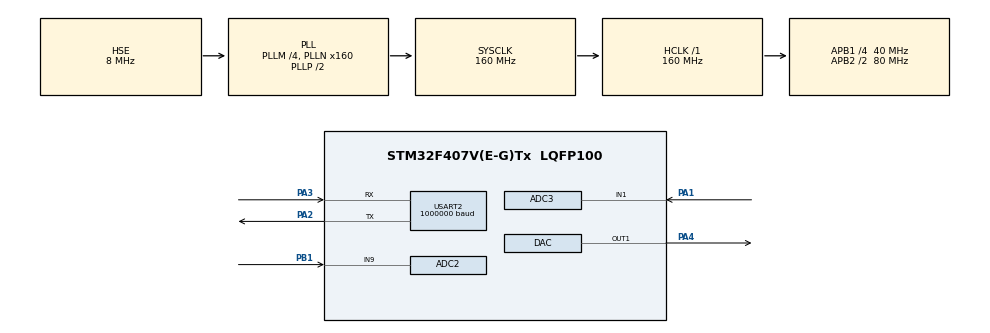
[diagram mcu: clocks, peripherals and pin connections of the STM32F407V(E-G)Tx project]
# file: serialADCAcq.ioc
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ADC2.Channel-0\#ChannelRegularConversion=ADC_CHANNEL_9
ADC2.DMAContinuousRequests=ENABLE
ADC2.ExternalTrigConv=ADC_EXTERNALTRIGCONV_T8_TRGO
ADC2.NbrOfConversionFlag=1
ADC2.Rank-0\#ChannelRegularConversion=1
ADC2.SamplingTime-0\#ChannelRegularConversion=ADC_SAMPLETIME_112CYCLES
ADC3.Channel-0\#ChannelRegularConversion=ADC_CHANNEL_1
ADC3.DMAContinuousRequests=ENABLE
ADC3.ExternalTrigConv=ADC_EXTERNALTRIGCONV_T8_TRGO
ADC3.NbrOfConversionFlag=1
ADC3.Rank-0\#ChannelRegularConversion=1
ADC3.SamplingTime-0\#ChannelRegularConversion=ADC_SAMPLETIME_112CYCLES
DAC.DAC_Trigger=DAC_TRIGGER_T2_TRGO
Dma.ADC2.0.Direction=DMA_PERIPH_TO_MEMORY
Dma.ADC2.0.FIFOMode=DMA_FIFOMODE_DISABLE
Dma.ADC2.0.Instance=DMA2_Stream2
Dma.ADC2.0.MemDataAlignment=DMA_MDATAALIGN_HALFWORD
Dma.ADC2.0.MemInc=DMA_MINC_ENABLE
Dma.ADC2.0.Mode=DMA_CIRCULAR
Dma.ADC2.0.PeriphDataAlignment=DMA_PDATAALIGN_HALFWORD
Dma.ADC2.0.PeriphInc=DMA_PINC_DISABLE
Dma.ADC2.0.Priority=DMA_PRIORITY_HIGH
Dma.ADC3.1.Direction=DMA_PERIPH_TO_MEMORY
Dma.ADC3.1.FIFOMode=DMA_FIFOMODE_DISABLE
Dma.ADC3.1.Instance=DMA2_Stream0
Dma.ADC3.1.MemDataAlignment=DMA_MDATAALIGN_HALFWORD
Dma.ADC3.1.MemInc=DMA_MINC_ENABLE
Dma.ADC3.1.Mode=DMA_CIRCULAR
Dma.ADC3.1.PeriphDataAlignment=DMA_PDATAALIGN_HALFWORD
Dma.ADC3.1.PeriphInc=DMA_PINC_DISABLE
Dma.ADC3.1.Priority=DMA_PRIORITY_HIGH
Dma.DAC1.2.Direction=DMA_MEMORY_TO_PERIPH
Dma.DAC1.2.FIFOMode=DMA_FIFOMODE_DISABLE
Dma.DAC1.2.Instance=DMA1_Stream5
Dma.DAC1.2.MemDataAlignment=DMA_MDATAALIGN_HALFWORD
Dma.DAC1.2.MemInc=DMA_MINC_ENABLE
Dma.DAC1.2.Mode=DMA_CIRCULAR
Dma.DAC1.2.PeriphDataAlignment=DMA_PDATAALIGN_HALFWORD
Dma.DAC1.2.PeriphInc=DMA_PINC_DISABLE
Dma.DAC1.2.Priority=DMA_PRIORITY_HIGH
Dma.Request0=ADC2
Dma.Request1=ADC3
Dma.Request2=DAC1
Dma.Request3=USART2_TX
Dma.USART2_TX.3.Direction=DMA_MEMORY_TO_PERIPH
Dma.USART2_TX.3.FIFOMode=DMA_FIFOMODE_DISABLE
Dma.USART2_TX.3.Instance=DMA1_Stream6
Dma.USART2_TX.3.MemDataAlignment=DMA_MDATAALIGN_BYTE
Dma.USART2_TX.3.MemInc=DMA_MINC_ENABLE
Dma.USART2_TX.3.Mode=DMA_NORMAL
Dma.USART2_TX.3.PeriphDataAlignment=DMA_PDATAALIGN_BYTE
Dma.USART2_TX.3.PeriphInc=DMA_PINC_DISABLE
Dma.USART2_TX.3.Priority=DMA_PRIORITY_HIGH
Mcu.Family=STM32F4
Mcu.Name=STM32F407V(E-G)Tx
Mcu.Package=LQFP100
NVIC.DMA1_Stream5_IRQn=true\:0\:0\:false\:false\:true\:false\:true
NVIC.DMA1_Stream6_IRQn=true\:0\:0\:false\:false\:true\:false\:true
NVIC.DMA2_Stream0_IRQn=true\:0\:0\:false\:false\:true\:false\:true
NVIC.DMA2_Stream2_IRQn=true\:0\:0\:false\:false\:true\:false\:true
NVIC.PriorityGroup=NVIC_PRIORITYGROUP_4
NVIC.TIM2_IRQn=true\:0\:0\:false\:false\:true\:true\:true
PA1.Signal=ADCx_IN1
PA2.Mode=Asynchronous
PA2.Signal=USART2_TX
PA3.Mode=Asynchronous
PA3.Signal=USART2_RX
PA4.Signal=COMP_DAC1_group
PB1.Signal=ADCx_IN9
PC14-OSC32_IN.Mode=LSE-External-Oscillator
PC14-OSC32_IN.Signal=RCC_OSC32_IN
PC15-OSC32_OUT.Mode=LSE-External-Oscillator
PC15-OSC32_OUT.Signal=RCC_OSC32_OUT
PH0-OSC_IN.Mode=HSE-External-Oscillator
PH0-OSC_IN.Signal=RCC_OSC_IN
PH1-OSC_OUT.Mode=HSE-External-Oscillator
PH1-OSC_OUT.Signal=RCC_OSC_OUT
ProjectManager.HeapSize=0x200
ProjectManager.StackSize=0x400
ProjectManager.TargetToolchain=STM32CubeIDE
RCC.48MHZClocksFreq_Value=80000000
RCC.AHBFreq_Value=160000000
RCC.APB1CLKDivider=RCC_HCLK_DIV4
RCC.APB1Freq_Value=40000000
RCC.APB1TimFreq_Value=80000000
RCC.APB2CLKDivider=RCC_HCLK_DIV2
RCC.APB2Freq_Value=80000000
RCC.APB2TimFreq_Value=160000000
RCC.CortexFreq_Value=160000000
RCC.HCLKFreq_Value=160000000
RCC.HSE_VALUE=8000000
RCC.HSI_VALUE=16000000
RCC.PLLM=4
RCC.PLLN=160
RCC.PLLSourceVirtual=RCC_PLLSOURCE_HSE
RCC.SYSCLKFreq_VALUE=160000000
RCC.SYSCLKSource=RCC_SYSCLKSOURCE_PLLCLK
RCC.VCOOutputFreq_Value=320000000
SH.ADCx_IN1.0=ADC3_IN1,IN1
SH.ADCx_IN9.0=ADC2_IN9,IN9
SH.COMP_DAC1_group.0=DAC_OUT1,DAC_OUT1
TIM2.AutoReloadPreload=TIM_AUTORELOAD_PRELOAD_ENABLE
TIM2.Period=80-1
TIM2.Prescaler=1-1
TIM2.TIM_MasterOutputTrigger=TIM_TRGO_UPDATE
TIM8.AutoReloadPreload=TIM_AUTORELOAD_PRELOAD_ENABLE
TIM8.Period=5-1
TIM8.Prescaler=4000-1
TIM8.TIM_MasterOutputTrigger=TIM_TRGO_UPDATE
USART2.BaudRate=1000000
USART2.Mode=MODE_TX
USART2.VirtualMode=VM_ASYNC
VP_TIM2_VS_ClockSourceINT.Mode=Internal
VP_TIM8_VS_ClockSourceINT.Mode=Internal
board=custom

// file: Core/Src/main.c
/* USER CODE BEGIN Header */
/**
  ******************************************************************************
  * @file           : main.c
  * @brief          : Main program body
  ******************************************************************************
  * @attention
  *
  * <h2><center>&copy; Copyright (c) 2025 STMicroelectronics.
  * All rights reserved.</center></h2>
  *
  * This software component is licensed by ST under BSD 3-Clause license,
  * the "License"; You may not use this file except in compliance with the
  * License. You may obtain a copy of the License at:
  *                        opensource.org/licenses/BSD-3-Clause
  *
  ******************************************************************************
  */
/* USER CODE END Header */
#include "main.h"

/* USER CODE BEGIN Includes */
#include "math.h"
#include <stdio.h>
#include <string.h>
#include <stdbool.h>
/* USER CODE END Includes */

ADC_HandleTypeDef hadc2;
ADC_HandleTypeDef hadc3;
DMA_HandleTypeDef hdma_adc2;
DMA_HandleTypeDef hdma_adc3;

DAC_HandleTypeDef hdac;
DMA_HandleTypeDef hdma_dac1;

TIM_HandleTypeDef htim2;
TIM_HandleTypeDef htim8;

UART_HandleTypeDef huart2;
DMA_HandleTypeDef hdma_usart2_tx;

/* USER CODE BEGIN PV */
#define PI 3.14159265358979323846
#define VIBRO_BUFFER_SIZE 4098
#define UART_BUFFER_SIZE 36864
#define data_size 35

uint32_t sine_val[data_size];

DAC_ChannelConfTypeDef sConfig = { 0 }; // The sConfig should be Defined Globally

//Chirp signal parameters
double Fs = 100.0;
double Ff = 800.0;
double Tc = 0.2;
double alpha = 0; // Frequency Sweep Rate [Hz/s]
double Cf = 0; // Maximum Allowable Frequency [Hz]
double deltat = 0; // Time Period of Wave [s]
double t = 0; // Time Variable [s]
double Ft = 0; // Wave Frequency Variable [Hz]

// Timer parameters
uint32_t MyClkFreq = 80000000; // Fixed APB1 Clock Frequency [Hz]
uint32_t MyPrescaler = 1 - 1; // Minimum Prescaler Value [cycles]
uint32_t MyPeriod = 80 - 1; // Fixed Period Value [cycles]

uint16_t accelRight[VIBRO_BUFFER_SIZE], accelLeft[VIBRO_BUFFER_SIZE];
static char txBufA[UART_BUFFER_SIZE], txBufB[UART_BUFFER_SIZE];

volatile char *uartActiveBuf = txBufA;
volatile char *uartFillBuf   = txBufB;

static volatile uint16_t *adcRBufPtr;
static volatile uint16_t *adcLBufPtr;

volatile uint8_t processHalfFlag = 1;
volatile uint8_t dataReadyFlag = 0;

// -1: nothing pending, 0: first half ready, 1: second half ready
static volatile int8_t pending_half = -1;

/* USER CODE END PV */

void SystemClock_Config(void);
static void MX_GPIO_Init(void);
static void MX_DMA_Init(void);
static void MX_ADC2_Init(void);
static void MX_TIM2_Init(void);
static void MX_TIM8_Init(void);
static void MX_ADC3_Init(void);
static void MX_DAC_Init(void);
static void MX_USART2_UART_Init(void);

/* USER CODE BEGIN 0 */
void get_sineval() {
	for (int i = 0; i < data_size; i++) {
		sine_val[i] = (uint32_t)((sin(i * 2 * PI / data_size) + 1) * (4096 / 2));
	}
}

void processHalfBuf(void) {
    int idx = 0;

    for (uint16_t n = 0; n < VIBRO_BUFFER_SIZE/2; n++) {
        // worst-case line: "4095 4095\n" -> 11 bytes
        idx += sprintf((char*)uartFillBuf + idx, "%u %u\n",
                       (unsigned)adcRBufPtr[n], (unsigned)adcLBufPtr[n]);
        if (idx >= UART_BUFFER_SIZE) break;
    }

    HAL_GPIO_WritePin(GPIOA, GPIO_PIN_9, GPIO_PIN_SET);
    HAL_UART_Transmit_DMA(&huart2, (uint8_t*)uartFillBuf, idx);

}

/* USER CODE END 0 */

int main(void)
{

  /* MCU Configuration--------------------------------------------------------*/

  /* Reset of all peripherals, Initializes the Flash interface and the Systick. */
  HAL_Init();

  /* Configure the system clock */
  SystemClock_Config();

  /* Initialize all configured peripherals */
  MX_GPIO_Init();
  MX_DMA_Init();
  MX_ADC2_Init();
  MX_TIM2_Init();
  MX_TIM8_Init();
  MX_ADC3_Init();
  MX_DAC_Init();
  MX_USART2_UART_Init();
  /* USER CODE BEGIN 2 */
    alpha = (Ff - Fs) / Tc / 2;
    Cf = ((double) MyClkFreq / ((double) (MyPeriod + 1) * data_size));

    HAL_ADC_Start_DMA(&hadc2, (uint32_t*)accelRight, VIBRO_BUFFER_SIZE);
    HAL_ADC_Start_DMA(&hadc3, (uint32_t*)accelLeft, VIBRO_BUFFER_SIZE);

    get_sineval();
    HAL_DAC_Start_DMA(&hdac, DAC_CHANNEL_1, (uint32_t*) sine_val, data_size, DAC_ALIGN_12B_R);

    HAL_TIM_Base_Start(&htim8);
    HAL_TIM_Base_Start(&htim2);
  /* USER CODE END 2 */

  /* Infinite loop */
  while (1)
  {

    /* USER CODE BEGIN 3 */

	  if (processHalfFlag && pending_half != -1) {
		  if (pending_half == 0) {
			  adcRBufPtr = &accelRight[0];
	          adcLBufPtr = &accelLeft[0];
	      } else {
	          adcRBufPtr = &accelRight[VIBRO_BUFFER_SIZE/2];
	          adcLBufPtr = &accelLeft[VIBRO_BUFFER_SIZE/2];
	      }
		  pending_half   = -1;   // consume this half
	      processHalfFlag = 0;   // lock UART
	      processHalfBuf();      // build buffer and start DMA
	  }
  }
  /* USER CODE END 3 */
}

void SystemClock_Config(void)
{
  RCC_OscInitTypeDef RCC_OscInitStruct = {0};
  RCC_ClkInitTypeDef RCC_ClkInitStruct = {0};

  /** Configure the main internal regulator output voltage
  */
  __HAL_RCC_PWR_CLK_ENABLE();
  __HAL_PWR_VOLTAGESCALING_CONFIG(PWR_REGULATOR_VOLTAGE_SCALE1);
  /** Initializes the RCC Oscillators according to the specified parameters
  * in the RCC_OscInitTypeDef structure.
  */
  RCC_OscInitStruct.OscillatorType = RCC_OSCILLATORTYPE_HSE;
  RCC_OscInitStruct.HSEState = RCC_HSE_ON;
  RCC_OscInitStruct.PLL.PLLState = RCC_PLL_ON;
  RCC_OscInitStruct.PLL.PLLSource = RCC_PLLSOURCE_HSE;
  RCC_OscInitStruct.PLL.PLLM = 4;
  RCC_OscInitStruct.PLL.PLLN = 160;
  RCC_OscInitStruct.PLL.PLLP = RCC_PLLP_DIV2;
  RCC_OscInitStruct.PLL.PLLQ = 4;
  if (HAL_RCC_OscConfig(&RCC_OscInitStruct) != HAL_OK)
  {
    Error_Handler();
  }
  /** Initializes the CPU, AHB and APB buses clocks
  */
  RCC_ClkInitStruct.ClockType = RCC_CLOCKTYPE_HCLK|RCC_CLOCKTYPE_SYSCLK
                              |RCC_CLOCKTYPE_PCLK1|RCC_CLOCKTYPE_PCLK2;
  RCC_ClkInitStruct.SYSCLKSource = RCC_SYSCLKSOURCE_PLLCLK;
  RCC_ClkInitStruct.AHBCLKDivider = RCC_SYSCLK_DIV1;
  RCC_ClkInitStruct.APB1CLKDivider = RCC_HCLK_DIV4;
  RCC_ClkInitStruct.APB2CLKDivider = RCC_HCLK_DIV2;

  if (HAL_RCC_ClockConfig(&RCC_ClkInitStruct, FLASH_LATENCY_5) != HAL_OK)
  {
    Error_Handler();
  }
}

static void MX_ADC2_Init(void)
{

  ADC_ChannelConfTypeDef sConfig = {0};

  /** Configure the global features of the ADC (Clock, Resolution, Data Alignment and number of conversion)
  */
  hadc2.Instance = ADC2;
  hadc2.Init.ClockPrescaler = ADC_CLOCK_SYNC_PCLK_DIV4;
  hadc2.Init.Resolution = ADC_RESOLUTION_12B;
  hadc2.Init.ScanConvMode = DISABLE;
  hadc2.Init.ContinuousConvMode = DISABLE;
  hadc2.Init.DiscontinuousConvMode = DISABLE;
  hadc2.Init.ExternalTrigConvEdge = ADC_EXTERNALTRIGCONVEDGE_RISING;
  hadc2.Init.ExternalTrigConv = ADC_EXTERNALTRIGCONV_T8_TRGO;
  hadc2.Init.DataAlign = ADC_DATAALIGN_RIGHT;
  hadc2.Init.NbrOfConversion = 1;
  hadc2.Init.DMAContinuousRequests = ENABLE;
  hadc2.Init.EOCSelection = ADC_EOC_SINGLE_CONV;
  if (HAL_ADC_Init(&hadc2) != HAL_OK)
  {
    Error_Handler();
  }
  /** Configure for the selected ADC regular channel its corresponding rank in the sequencer and its sample time.
  */
  sConfig.Channel = ADC_CHANNEL_9;
  sConfig.Rank = 1;
  sConfig.SamplingTime = ADC_SAMPLETIME_112CYCLES;
  if (HAL_ADC_ConfigChannel(&hadc2, &sConfig) != HAL_OK)
  {
    Error_Handler();
  }

}

static void MX_ADC3_Init(void)
{

  ADC_ChannelConfTypeDef sConfig = {0};

  /** Configure the global features of the ADC (Clock, Resolution, Data Alignment and number of conversion)
  */
  hadc3.Instance = ADC3;
  hadc3.Init.ClockPrescaler = ADC_CLOCK_SYNC_PCLK_DIV4;
  hadc3.Init.Resolution = ADC_RESOLUTION_12B;
  hadc3.Init.ScanConvMode = DISABLE;
  hadc3.Init.ContinuousConvMode = DISABLE;
  hadc3.Init.DiscontinuousConvMode = DISABLE;
  hadc3.Init.ExternalTrigConvEdge = ADC_EXTERNALTRIGCONVEDGE_RISING;
  hadc3.Init.ExternalTrigConv = ADC_EXTERNALTRIGCONV_T8_TRGO;
  hadc3.Init.DataAlign = ADC_DATAALIGN_RIGHT;
  hadc3.Init.NbrOfConversion = 1;
  hadc3.Init.DMAContinuousRequests = ENABLE;
  hadc3.Init.EOCSelection = ADC_EOC_SINGLE_CONV;
  if (HAL_ADC_Init(&hadc3) != HAL_OK)
  {
    Error_Handler();
  }
  /** Configure for the selected ADC regular channel its corresponding rank in the sequencer and its sample time.
  */
  sConfig.Channel = ADC_CHANNEL_1;
  sConfig.Rank = 1;
  sConfig.SamplingTime = ADC_SAMPLETIME_112CYCLES;
  if (HAL_ADC_ConfigChannel(&hadc3, &sConfig) != HAL_OK)
  {
    Error_Handler();
  }

}

static void MX_DAC_Init(void)
{

  // DAC_ChannelConfTypeDef sConfig = {0};

  /** DAC Initialization
  */
  hdac.Instance = DAC;
  if (HAL_DAC_Init(&hdac) != HAL_OK)
  {
    Error_Handler();
  }
  /** DAC channel OUT1 config
  */
  sConfig.DAC_Trigger = DAC_TRIGGER_T2_TRGO;
  sConfig.DAC_OutputBuffer = DAC_OUTPUTBUFFER_ENABLE;
  if (HAL_DAC_ConfigChannel(&hdac, &sConfig, DAC_CHANNEL_1) != HAL_OK)
  {
    Error_Handler();
  }

}

static void MX_TIM2_Init(void)
{

  TIM_ClockConfigTypeDef sClockSourceConfig = {0};
  TIM_MasterConfigTypeDef sMasterConfig = {0};

  htim2.Instance = TIM2;
  htim2.Init.Prescaler = 1-1;
  htim2.Init.CounterMode = TIM_COUNTERMODE_UP;
  htim2.Init.Period = 80-1;
  htim2.Init.ClockDivision = TIM_CLOCKDIVISION_DIV1;
  htim2.Init.AutoReloadPreload = TIM_AUTORELOAD_PRELOAD_ENABLE;
  if (HAL_TIM_Base_Init(&htim2) != HAL_OK)
  {
    Error_Handler();
  }
  sClockSourceConfig.ClockSource = TIM_CLOCKSOURCE_INTERNAL;
  if (HAL_TIM_ConfigClockSource(&htim2, &sClockSourceConfig) != HAL_OK)
  {
    Error_Handler();
  }
  sMasterConfig.MasterOutputTrigger = TIM_TRGO_UPDATE;
  sMasterConfig.MasterSlaveMode = TIM_MASTERSLAVEMODE_DISABLE;
  if (HAL_TIMEx_MasterConfigSynchronization(&htim2, &sMasterConfig) != HAL_OK)
  {
    Error_Handler();
  }

}

static void MX_TIM8_Init(void)
{

  TIM_ClockConfigTypeDef sClockSourceConfig = {0};
  TIM_MasterConfigTypeDef sMasterConfig = {0};

  htim8.Instance = TIM8;
  htim8.Init.Prescaler = 4000-1;
  htim8.Init.CounterMode = TIM_COUNTERMODE_UP;
  htim8.Init.Period = 5-1;
  htim8.Init.ClockDivision = TIM_CLOCKDIVISION_DIV1;
  htim8.Init.RepetitionCounter = 0;
  htim8.Init.AutoReloadPreload = TIM_AUTORELOAD_PRELOAD_ENABLE;
  if (HAL_TIM_Base_Init(&htim8) != HAL_OK)
  {
    Error_Handler();
  }
  sClockSourceConfig.ClockSource = TIM_CLOCKSOURCE_INTERNAL;
  if (HAL_TIM_ConfigClockSource(&htim8, &sClockSourceConfig) != HAL_OK)
  {
    Error_Handler();
  }
  sMasterConfig.MasterOutputTrigger = TIM_TRGO_UPDATE;
  sMasterConfig.MasterSlaveMode = TIM_MASTERSLAVEMODE_DISABLE;
  if (HAL_TIMEx_MasterConfigSynchronization(&htim8, &sMasterConfig) != HAL_OK)
  {
    Error_Handler();
  }

}

static void MX_USART2_UART_Init(void)
{

  huart2.Instance = USART2;
  huart2.Init.BaudRate = 1000000;
  huart2.Init.WordLength = UART_WORDLENGTH_8B;
  huart2.Init.StopBits = UART_STOPBITS_1;
  huart2.Init.Parity = UART_PARITY_NONE;
  huart2.Init.Mode = UART_MODE_TX;
  huart2.Init.HwFlowCtl = UART_HWCONTROL_NONE;
  huart2.Init.OverSampling = UART_OVERSAMPLING_16;
  if (HAL_UART_Init(&huart2) != HAL_OK)
  {
    Error_Handler();
  }

}

static void MX_DMA_Init(void)
{

  /* DMA controller clock enable */
  __HAL_RCC_DMA2_CLK_ENABLE();
  __HAL_RCC_DMA1_CLK_ENABLE();

  /* DMA interrupt init */
  /* DMA1_Stream5_IRQn interrupt configuration */
  HAL_NVIC_SetPriority(DMA1_Stream5_IRQn, 0, 0);
  HAL_NVIC_EnableIRQ(DMA1_Stream5_IRQn);
  /* DMA1_Stream6_IRQn interrupt configuration */
  HAL_NVIC_SetPriority(DMA1_Stream6_IRQn, 0, 0);
  HAL_NVIC_EnableIRQ(DMA1_Stream6_IRQn);
  /* DMA2_Stream0_IRQn interrupt configuration */
  HAL_NVIC_SetPriority(DMA2_Stream0_IRQn, 0, 0);
  HAL_NVIC_EnableIRQ(DMA2_Stream0_IRQn);
  /* DMA2_Stream2_IRQn interrupt configuration */
  HAL_NVIC_SetPriority(DMA2_Stream2_IRQn, 0, 0);
  HAL_NVIC_EnableIRQ(DMA2_Stream2_IRQn);

}

static void MX_GPIO_Init(void)
{

  /* GPIO Ports Clock Enable */
  __HAL_RCC_GPIOC_CLK_ENABLE();
  __HAL_RCC_GPIOH_CLK_ENABLE();
  __HAL_RCC_GPIOA_CLK_ENABLE();
  __HAL_RCC_GPIOB_CLK_ENABLE();

}

/* USER CODE BEGIN 4 */
int _write(int file, char *ptr, int len) {
	int DataIdx;

	for (DataIdx = 0; DataIdx < len; DataIdx++) {
		ITM_SendChar(*ptr++);
	}
	return len;
}

void MY_TIM_UPDATE() {
	htim2.Init.Prescaler = MyPrescaler;
	HAL_TIM_Base_Init(&htim2);
}

void MY_DAC_UPDATE(void) {
	MY_TIM_UPDATE();
	deltat = (double) (((double) MyPrescaler + 1) / Cf);
	// Update Time Variable [s]
	(t > (2.0 * Tc)) ? (t = 0) : (t += deltat);
	Ft = (double) (Fs + alpha * t); // Update Frequency Variable
	(Ft > Ff) ? (Ft = Ff) : 1; // Check Frequency Variable
	(Ft > Cf) ? (Ft = Cf) : 1; // Check Frequency Variable
	MyPrescaler = (uint32_t) ((Cf / Ft) - 1); // Compute Prescaler Value
}

void HAL_DAC_ConvCpltCallbackCh1(DAC_HandleTypeDef *hdac) {
	MY_DAC_UPDATE();
}

void HAL_ADC_ConvHalfCpltCallback(ADC_HandleTypeDef *hadc)
{
    if (hadc->Instance == ADC2) {
        if (pending_half == -1) pending_half = 0;
        HAL_GPIO_WritePin(GPIOA, GPIO_PIN_8, GPIO_PIN_SET);
    }
}

void HAL_ADC_ConvCpltCallback(ADC_HandleTypeDef *hadc)
{
    if (hadc->Instance == ADC2) {
        if (pending_half == -1) pending_half = 1;  // arm half #1 once
        HAL_GPIO_WritePin(GPIOA, GPIO_PIN_8, GPIO_PIN_RESET);
    }
}

void HAL_UART_TxCpltCallback(UART_HandleTypeDef *huart)
{
    // Swap after the previous buffer is fully sent

	volatile char *tmp = uartActiveBuf;
    uartActiveBuf = uartFillBuf;
    uartFillBuf   = tmp;

    HAL_GPIO_WritePin(GPIOA, GPIO_PIN_9, GPIO_PIN_RESET);
    processHalfFlag = 1;  // ready to fill next half
}
/* USER CODE END 4 */

void Error_Handler(void)
{
}

/************************ (C) COPYRIGHT STMicroelectronics *****END OF FILE****/
